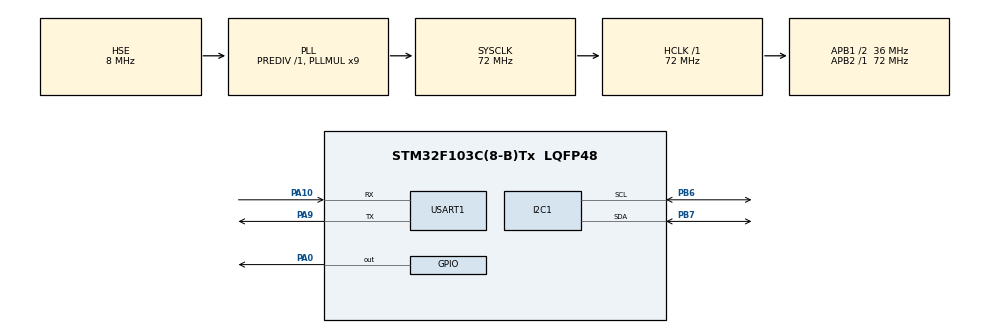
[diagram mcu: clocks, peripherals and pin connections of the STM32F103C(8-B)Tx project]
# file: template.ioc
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Mcu.Family=STM32F1
Mcu.Name=STM32F103C(8-B)Tx
Mcu.Package=LQFP48
NVIC.PriorityGroup=NVIC_PRIORITYGROUP_4
NVIC.TIM4_IRQn=true\:15\:0\:false\:false\:true\:false\:true\:true
NVIC.TimeBase=TIM4_IRQn
NVIC.TimeBaseIP=TIM4
PA0-WKUP.Signal=GPIO_Output
PA10.Mode=Asynchronous
PA10.Signal=USART1_RX
PA13.Mode=Serial_Wire
PA13.Signal=SYS_JTMS-SWDIO
PA14.Mode=Serial_Wire
PA14.Signal=SYS_JTCK-SWCLK
PA9.Mode=Asynchronous
PA9.Signal=USART1_TX
PB6.Mode=I2C
PB6.Signal=I2C1_SCL
PB7.Mode=I2C
PB7.Signal=I2C1_SDA
PD0-OSC_IN.Mode=HSE-External-Oscillator
PD0-OSC_IN.Signal=RCC_OSC_IN
PD1-OSC_OUT.Mode=HSE-External-Oscillator
PD1-OSC_OUT.Signal=RCC_OSC_OUT
ProjectManager.HeapSize=0x200
ProjectManager.StackSize=0x400
ProjectManager.TargetToolchain=CMake
RCC.AHBFreq_Value=72000000
RCC.APB1CLKDivider=RCC_HCLK_DIV2
RCC.APB1Freq_Value=36000000
RCC.APB1TimFreq_Value=72000000
RCC.APB2Freq_Value=72000000
RCC.APB2TimFreq_Value=72000000
RCC.HCLKFreq_Value=72000000
RCC.PLLMUL=RCC_PLL_MUL9
RCC.PLLSourceVirtual=RCC_PLLSOURCE_HSE
RCC.SYSCLKFreq_VALUE=72000000
RCC.SYSCLKSource=RCC_SYSCLKSOURCE_PLLCLK
RCC.USBFreq_Value=72000000
USART1.VirtualMode=VM_ASYNC
VP_SYS_VS_tim4.Mode=TIM4
board=custom

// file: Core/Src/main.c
/* USER CODE BEGIN Header */
/**
  ******************************************************************************
  * @file           : main.c
  * @brief          : Main program body
  ******************************************************************************
  * @attention
  *
  * Copyright (c) 2026 STMicroelectronics.
  * All rights reserved.
  *
  * This software is licensed under terms that can be found in the LICENSE file
  * in the root directory of this software component.
  * If no LICENSE file comes with this software, it is provided AS-IS.
  *
  ******************************************************************************
  */
/* USER CODE END Header */
#include "main.h"

I2C_HandleTypeDef hi2c1;

UART_HandleTypeDef huart1;

/* USER CODE BEGIN PV */
volatile uint32_t reset_do_iwdg = 0;
/* USER CODE END PV */

void SystemClock_Config(void);
static void MX_GPIO_Init(void);
static void MX_USART1_UART_Init(void);
static void MX_I2C1_Init(void);
/* USER CODE BEGIN PFP */
void app_main(void);
/* USER CODE END PFP */

int main(void)
{

  /* MCU Configuration--------------------------------------------------------*/

  /* Reset of all peripherals, Initializes the Flash interface and the Systick. */
  HAL_Init();

  /* USER CODE BEGIN Init */
reset_do_iwdg =
    (__HAL_RCC_GET_FLAG(RCC_FLAG_IWDGRST) != RESET);

__HAL_RCC_CLEAR_RESET_FLAGS();
  /* USER CODE END Init */

  /* Configure the system clock */
  SystemClock_Config();

  /* Initialize all configured peripherals */
  MX_GPIO_Init();
  MX_USART1_UART_Init();
  MX_I2C1_Init();
  /* USER CODE BEGIN 2 */
 extern void app_main(void);
 const char thong_bao[] = "BOOT\r\n";

HAL_UART_Transmit(
    &huart1,
    (uint8_t *)thong_bao,
    sizeof(thong_bao) - 1,
    100
);
  app_main();
  /* USER CODE END 2 */

  /* Infinite loop */
  while (1)
  {

  }
}

void SystemClock_Config(void)
{
  RCC_OscInitTypeDef RCC_OscInitStruct = {0};
  RCC_ClkInitTypeDef RCC_ClkInitStruct = {0};

  /** Initializes the RCC Oscillators according to the specified parameters
  * in the RCC_OscInitTypeDef structure.
  */
  RCC_OscInitStruct.OscillatorType = RCC_OSCILLATORTYPE_HSE;
  RCC_OscInitStruct.HSEState = RCC_HSE_ON;
  RCC_OscInitStruct.HSEPredivValue = RCC_HSE_PREDIV_DIV1;
  RCC_OscInitStruct.HSIState = RCC_HSI_ON;
  RCC_OscInitStruct.PLL.PLLState = RCC_PLL_ON;
  RCC_OscInitStruct.PLL.PLLSource = RCC_PLLSOURCE_HSE;
  RCC_OscInitStruct.PLL.PLLMUL = RCC_PLL_MUL9;
  if (HAL_RCC_OscConfig(&RCC_OscInitStruct) != HAL_OK)
  {
    Error_Handler();
  }

  /** Initializes the CPU, AHB and APB buses clocks
  */
  RCC_ClkInitStruct.ClockType = RCC_CLOCKTYPE_HCLK|RCC_CLOCKTYPE_SYSCLK
                              |RCC_CLOCKTYPE_PCLK1|RCC_CLOCKTYPE_PCLK2;
  RCC_ClkInitStruct.SYSCLKSource = RCC_SYSCLKSOURCE_PLLCLK;
  RCC_ClkInitStruct.AHBCLKDivider = RCC_SYSCLK_DIV1;
  RCC_ClkInitStruct.APB1CLKDivider = RCC_HCLK_DIV2;
  RCC_ClkInitStruct.APB2CLKDivider = RCC_HCLK_DIV1;

  if (HAL_RCC_ClockConfig(&RCC_ClkInitStruct, FLASH_LATENCY_2) != HAL_OK)
  {
    Error_Handler();
  }
}

static void MX_I2C1_Init(void)
{

  hi2c1.Instance = I2C1;
  hi2c1.Init.ClockSpeed = 100000;
  hi2c1.Init.DutyCycle = I2C_DUTYCYCLE_2;
  hi2c1.Init.OwnAddress1 = 0;
  hi2c1.Init.AddressingMode = I2C_ADDRESSINGMODE_7BIT;
  hi2c1.Init.DualAddressMode = I2C_DUALADDRESS_DISABLE;
  hi2c1.Init.OwnAddress2 = 0;
  hi2c1.Init.GeneralCallMode = I2C_GENERALCALL_DISABLE;
  hi2c1.Init.NoStretchMode = I2C_NOSTRETCH_DISABLE;
  if (HAL_I2C_Init(&hi2c1) != HAL_OK)
  {
    Error_Handler();
  }
  /* USER CODE BEGIN I2C1_Init 2 */
__HAL_RCC_I2C1_FORCE_RESET();
__HAL_RCC_I2C1_RELEASE_RESET();

if (HAL_I2C_Init(&hi2c1) != HAL_OK) {
    Error_Handler();
}

  /* USER CODE END I2C1_Init 2 */

}

static void MX_USART1_UART_Init(void)
{

  huart1.Instance = USART1;
  huart1.Init.BaudRate = 115200;
  huart1.Init.WordLength = UART_WORDLENGTH_8B;
  huart1.Init.StopBits = UART_STOPBITS_1;
  huart1.Init.Parity = UART_PARITY_NONE;
  huart1.Init.Mode = UART_MODE_TX_RX;
  huart1.Init.HwFlowCtl = UART_HWCONTROL_NONE;
  huart1.Init.OverSampling = UART_OVERSAMPLING_16;
  if (HAL_UART_Init(&huart1) != HAL_OK)
  {
    Error_Handler();
  }

}

static void MX_GPIO_Init(void)
{
  GPIO_InitTypeDef GPIO_InitStruct = {0};

  /* GPIO Ports Clock Enable */
  __HAL_RCC_GPIOD_CLK_ENABLE();
  __HAL_RCC_GPIOA_CLK_ENABLE();
  __HAL_RCC_GPIOB_CLK_ENABLE();

  /*Configure GPIO pin Output Level */
  HAL_GPIO_WritePin(GPIOA, GPIO_PIN_0, GPIO_PIN_RESET);

  /*Configure GPIO pin : PA0 */
  GPIO_InitStruct.Pin = GPIO_PIN_0;
  GPIO_InitStruct.Mode = GPIO_MODE_OUTPUT_PP;
  GPIO_InitStruct.Pull = GPIO_NOPULL;
  GPIO_InitStruct.Speed = GPIO_SPEED_FREQ_LOW;
  HAL_GPIO_Init(GPIOA, &GPIO_InitStruct);

}

void HAL_TIM_PeriodElapsedCallback(TIM_HandleTypeDef *htim)
{
  if (htim->Instance == TIM4)
  {
    HAL_IncTick();
  }
}

void Error_Handler(void)
{
  __disable_irq();
  while (1)
  {
  }
}
